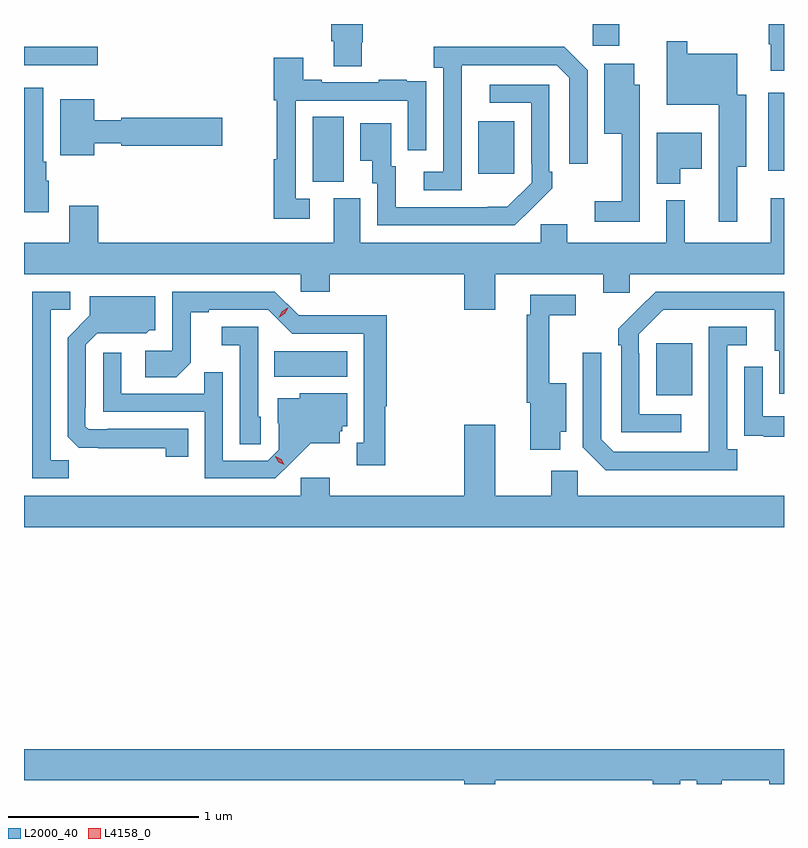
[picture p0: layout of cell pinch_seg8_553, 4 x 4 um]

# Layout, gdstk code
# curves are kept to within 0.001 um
import gdstk
lib = gdstk.Library(unit=1e-6, precision=1e-09)
def R(c, l, rs):  # rectangles x0, y0, x1, y1
    for r in rs: c.add(gdstk.rectangle(r[:2], r[2:], *l))
def P(c, l, *ps):  # polygons
    for p in ps: c.add(gdstk.Polygon(p, *l))
L2000_40 = (2000, 40)
L4158_0 = (4158, 0)

pinch_seg8_553 = lib.new_cell('pinch_seg8_553')
R(pinch_seg8_553, L2000_40, [(142.043,1117.193,142.231,1117.468), (140.032,1117.292,140.416,1117.426), (140.234,1118.317,140.398,1118.66), (141.107,1118.361,141.295,1118.635), (142.631,1118.375,142.715,1118.785), (138.715,1118.931,139.102,1119.028), (141.708,1119.033,141.847,1119.148)])
P(pinch_seg8_553, L2000_40, [(142.715,1119.148),(142.635,1119.148),(142.635,1119.041),(142.646,1119.041),(142.646,1118.901),(142.715,1118.901)],
  [(140.493,1119.051),(140.498,1119.051),(140.498,1119.148),(140.333,1119.148),(140.333,1119.058),(140.345,1119.058),(140.345,1118.926),(140.493,1118.926)],
  [(142.469,1118.396),(142.516,1118.396),(142.516,1118.776),(142.468,1118.776),(142.468,1118.992),(142.207,1118.992),(142.207,1119.058),(142.098,1119.058),(142.098,1118.723),(142.371,1118.723),(142.371,1118.106),(142.469,1118.106)],
  [(141.018,1118.731),(141.019,1118.931),(141.519,1118.931),(141.585,1118.865),(141.585,1118.412),(141.681,1118.412),(141.681,1118.905),(141.558,1119.028),(140.871,1119.028),(140.871,1118.918),(140.922,1118.918),(140.922,1118.37),(140.82,1118.37),(140.82,1118.274),(141.018,1118.274)],
  [(140.218,1118.229),(140.145,1118.229),(140.145,1118.745),(140.736,1118.745),(140.736,1118.484),(140.832,1118.484),(140.832,1118.738),(140.831,1118.738),(140.831,1118.847),(140.729,1118.847),(140.729,1118.854),(140.581,1118.854),(140.581,1118.841),(140.281,1118.841),(140.281,1118.854),(140.185,1118.854),(140.185,1118.971),(140.029,1118.971),(140.029,1118.748),(140.044,1118.748),(140.044,1118.436),(140.029,1118.436),(140.029,1118.124),(140.218,1118.124)],
  [(141.957,1118.827),(141.928,1118.827),(141.928,1118.938),(141.77,1118.938),(141.77,1118.57),(141.86,1118.57),(141.86,1118.215),(141.72,1118.215),(141.72,1118.106),(141.957,1118.106)],
  [(141.389,1118.179),(141.39,1118.178),(141.495,1118.283),(141.495,1118.371),(141.48,1118.371),(141.48,1118.829),(141.165,1118.829),(141.165,1118.733),(141.384,1118.733),(141.384,1118.413),(141.387,1118.413),(141.387,1118.313),(141.259,1118.185),(140.671,1118.184),(140.671,1118.4),(140.647,1118.4),(140.647,1118.626),(140.486,1118.626),(140.486,1118.429),(140.549,1118.429),(140.549,1118.31),(140.574,1118.31),(140.574,1118.088),(141.298,1118.088)],
  [(138.844,1118.322),(138.832,1118.322),(138.832,1118.422),(138.817,1118.422),(138.817,1118.812),(138.715,1118.812),(138.715,1118.156),(138.844,1118.156)],
  [(139.084,1118.52),(139.227,1118.52),(139.227,1118.507),(139.759,1118.507),(139.759,1118.654),(139.227,1118.654),(139.227,1118.641),(139.084,1118.641),(139.084,1118.752),(138.905,1118.752),(138.905,1118.456),(139.084,1118.456)],
  [(142.168,1118.387),(142.282,1118.387),(142.282,1118.575),(142.046,1118.575),(142.046,1118.306),(142.168,1118.306)],
  [(141.196,1117.832),(141.764,1117.832),(141.764,1117.734),(141.903,1117.734),(141.903,1117.832),(142.715,1117.832),(142.715,1118.23),(142.646,1118.23),(142.646,1117.996),(142.193,1117.996),(142.193,1118.221),(142.094,1118.221),(142.094,1117.996),(141.574,1117.996),(141.574,1118.094),(141.435,1118.094),(141.435,1117.996),(140.485,1117.996),(140.485,1118.232),(140.345,1118.232),(140.345,1117.996),(139.106,1117.996),(139.106,1118.191),(138.953,1118.191),(138.953,1117.996),(138.715,1117.996),(138.715,1117.832),(140.172,1117.832),(140.172,1117.739),(140.324,1117.739),(140.324,1117.832),(141.032,1117.832),(141.032,1117.644),(141.196,1117.644)],
  [(142.174,1117.095),(141.954,1117.095),(141.954,1117.415),(141.951,1117.415),(141.951,1117.515),(142.08,1117.644),(142.667,1117.644),(142.667,1117.428),(142.691,1117.428),(142.691,1117.203),(142.715,1117.203),(142.715,1117.74),(142.04,1117.74),(141.843,1117.545),(141.843,1117.457),(141.858,1117.457),(141.858,1116.999),(142.174,1116.999)],
  [(138.951,1116.851),(138.855,1116.851),(138.855,1117.644),(138.958,1117.644),(138.958,1117.74),(138.759,1117.74),(138.759,1116.756),(138.951,1116.756)],
  [(140.615,1117.137),(140.623,1117.137),(140.623,1117.616),(140.382,1117.616),(140.382,1117.614),(140.16,1117.614),(140.034,1117.74),(139.494,1117.74),(139.494,1117.428),(139.353,1117.428),(139.353,1117.288),(139.517,1117.288),(139.593,1117.364),(139.593,1117.632),(139.687,1117.632),(139.687,1117.644),(140.001,1117.644),(140.127,1117.518),(140.504,1117.518),(140.504,1116.945),(140.465,1116.945),(140.465,1116.825),(140.615,1116.825)],
  [(141.538,1117.001),(141.568,1117.001),(141.568,1117.258),(141.479,1117.258),(141.479,1117.614),(141.619,1117.614),(141.619,1117.722),(141.38,1117.722),(141.38,1117.619),(141.361,1117.619),(141.361,1117.154),(141.38,1117.154),(141.38,1116.906),(141.538,1116.906)],
  [(139.58,1117.017),(139.156,1117.017),(139.156,1117.014),(139.056,1117.014),(139.038,1117.032),(139.038,1117.132),(139.041,1117.132),(139.041,1117.461),(139.101,1117.521),(139.358,1117.52),(139.374,1117.536),(139.405,1117.536),(139.405,1117.714),(139.061,1117.714),(139.061,1117.614),(138.945,1117.498),(138.945,1116.976),(139.004,1116.917),(139.462,1116.916),(139.462,1116.87),(139.58,1116.87)],
  [(142.468,1116.91),(142.416,1116.91),(142.416,1117.458),(142.519,1117.458),(142.519,1117.554),(142.32,1117.554),(142.319,1116.897),(141.819,1116.897),(141.753,1116.963),(141.753,1117.417),(141.657,1117.417),(141.657,1116.921),(141.778,1116.8),(142.468,1116.8)],
  [(139.962,1117.08),(139.947,1117.08),(139.947,1117.554),(139.755,1117.554),(139.755,1117.457),(139.851,1117.457),(139.851,1116.937),(139.962,1116.937)],
  [(140.122,1116.839),(140.225,1116.941),(140.377,1116.941),(140.377,1117.005),(140.391,1117.005),(140.391,1117.032),(140.416,1117.032),(140.416,1117.204),(140.166,1117.204),(140.166,1117.177),(140.051,1117.177),(140.051,1117.048),(140.055,1117.048),(140.055,1116.906),(139.998,1116.849),(139.761,1116.849),(139.761,1117.316),(139.663,1117.316),(139.663,1117.203),(139.227,1117.203),(139.227,1117.417),(139.131,1117.417),(139.131,1117.107),(139.665,1117.107),(139.665,1116.756),(140.038,1116.756)],
  [(142.715,1117.083),(142.602,1117.083),(142.602,1117.345),(142.506,1117.345),(142.506,1117.09),(142.507,1117.09),(142.507,1116.981),(142.609,1116.981),(142.609,1116.975),(142.715,1116.975)],
  [(142.715,1116.664),(141.63,1116.664),(141.63,1116.796),(141.491,1116.796),(141.491,1116.664),(141.196,1116.664),(141.196,1117.039),(141.032,1117.039),(141.032,1116.664),(140.324,1116.664),(140.324,1116.76),(140.172,1116.76),(140.172,1116.664),(138.715,1116.664),(138.715,1116.5),(142.715,1116.5)],
  [(141.196,1115.168),(142.025,1115.168),(142.025,1115.148),(142.168,1115.148),(142.168,1115.168),(142.256,1115.168),(142.256,1115.148),(142.387,1115.148),(142.387,1115.168),(142.637,1115.168),(142.637,1115.148),(142.715,1115.148),(142.715,1115.332),(138.715,1115.332),(138.715,1115.168),(141.032,1115.168),(141.032,1115.148),(141.196,1115.148)])
P(pinch_seg8_553, L4158_0, [(140.056,1117.602),(140.056,1117.602),(140.073,1117.635),(140.104,1117.655),(140.105,1117.655),(140.105,1117.654),(140.088,1117.622),(140.056,1117.602)],
  [(140.085,1116.827),(140.055,1116.842),(140.038,1116.871),(140.038,1116.872),(140.038,1116.872),(140.068,1116.857),(140.086,1116.828),(140.086,1116.827)])

lib.write_gds('pinch_seg8_553.gds')
